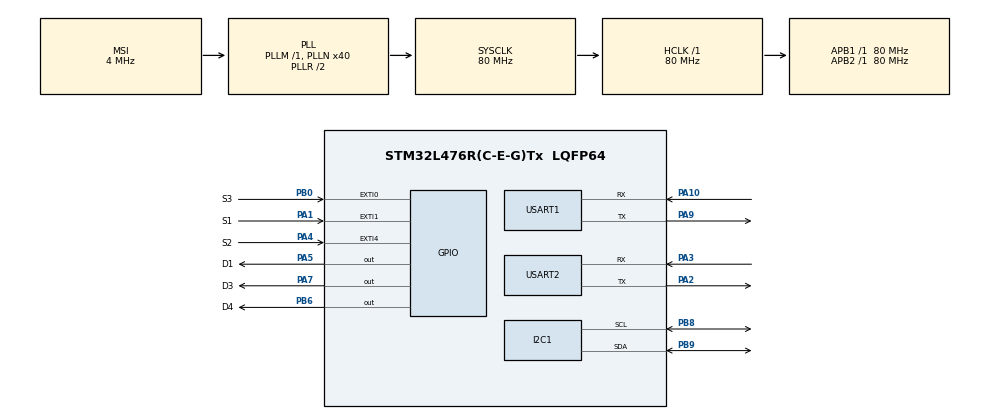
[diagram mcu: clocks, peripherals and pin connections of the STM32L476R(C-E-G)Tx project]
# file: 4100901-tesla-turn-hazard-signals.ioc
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I2C1.Timing=0x10909CEC
Mcu.Family=STM32L4
Mcu.Name=STM32L476R(C-E-G)Tx
Mcu.Package=LQFP64
NVIC.EXTI0_IRQn=true\:0\:0\:false\:false\:true\:true\:true\:true
NVIC.EXTI1_IRQn=true\:0\:0\:false\:false\:true\:true\:true\:true
NVIC.EXTI4_IRQn=true\:0\:0\:false\:false\:true\:true\:true\:true
NVIC.PriorityGroup=NVIC_PRIORITYGROUP_4
NVIC.USART1_IRQn=true\:0\:0\:false\:false\:true\:true\:true\:true
NVIC.USART2_IRQn=true\:0\:0\:false\:false\:true\:true\:true\:true
PA1.GPIO_Label=S1
PA1.GPIO_ModeDefaultEXTI=GPIO_MODE_IT_FALLING
PA1.Signal=GPXTI1
PA10.Mode=Asynchronous
PA10.Signal=USART1_RX
PA2.Mode=Asynchronous
PA2.Signal=USART2_TX
PA3.Mode=Asynchronous
PA3.Signal=USART2_RX
PA4.GPIO_Label=S2
PA4.GPIO_ModeDefaultEXTI=GPIO_MODE_IT_FALLING
PA4.Signal=GPXTI4
PA5.GPIO_Label=D1
PA5.PinState=GPIO_PIN_SET
PA5.Signal=GPIO_Output
PA7.GPIO_Label=D3
PA7.PinState=GPIO_PIN_SET
PA7.Signal=GPIO_Output
PA9.Mode=Asynchronous
PA9.Signal=USART1_TX
PB0.GPIO_Label=S3
PB0.GPIO_ModeDefaultEXTI=GPIO_MODE_IT_FALLING
PB0.Signal=GPXTI0
PB6.GPIO_Label=D4
PB6.PinState=GPIO_PIN_SET
PB6.Signal=GPIO_Output
PB8.Mode=I2C
PB8.Signal=I2C1_SCL
PB9.Mode=I2C
PB9.Signal=I2C1_SDA
ProjectManager.HeapSize=0x200
ProjectManager.StackSize=0x400
ProjectManager.TargetToolchain=STM32CubeIDE
RCC.AHBFreq_Value=80000000
RCC.APB1Freq_Value=80000000
RCC.APB1TimFreq_Value=80000000
RCC.APB2Freq_Value=80000000
RCC.APB2TimFreq_Value=80000000
RCC.CortexFreq_Value=80000000
RCC.HCLKFreq_Value=80000000
RCC.HSE_VALUE=8000000
RCC.HSI_VALUE=16000000
RCC.LSE_VALUE=32768
RCC.MSI_VALUE=4000000
RCC.PLLN=40
RCC.SYSCLKFreq_VALUE=80000000
RCC.SYSCLKSource=RCC_SYSCLKSOURCE_PLLCLK
RCC.VCOOutputFreq_Value=160000000
USART1.VirtualMode-Asynchronous=VM_ASYNC
USART2.VirtualMode-Asynchronous=VM_ASYNC
board=custom

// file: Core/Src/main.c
/* USER CODE BEGIN Header */
/**
  ******************************************************************************
  * @file           : main.c
  * @brief          : Main program body
  ******************************************************************************
  * @attention
  *
  * Copyright (c) 2024 STMicroelectronics.
  * All rights reserved.
  *
  * This software is licensed under terms that can be found in the LICENSE file
  * in the root directory of this software component.
  * If no LICENSE file comes with this software, it is provided AS-IS.
  *
  ******************************************************************************
  */
/* USER CODE END Header */
#include "main.h"

/* USER CODE BEGIN Includes */

#include "ring_buffer.h"

#include"ssd1306.h"
#include"ssd1306_fonts.h"
/* USER CODE END Includes */

I2C_HandleTypeDef hi2c1;

UART_HandleTypeDef huart1;
UART_HandleTypeDef huart2;

/* USER CODE BEGIN PV */
uint32_t left_toggles = 0;
uint32_t right_toggles = 0,hazard_toggles=0;
uint32_t last_debounce_time_left = 0;
uint32_t last_debounce_time_right = 0,last_debounce_time_hazard = 0;
uint32_t counter_right=0, counter_left=0,counter_hazard=0;
uint8_t data;

#define CAPACITY_USART1 10
uint8_t mem_usart1[CAPACITY_USART1];
ring_buffer_t rb_usart1;
#define CAPACITY_USART2 10
uint8_t mem_usart2[CAPACITY_USART2];
ring_buffer_t rb_usart2;

/* USER CODE END PV */

void SystemClock_Config(void);
static void MX_GPIO_Init(void);
static void MX_USART2_UART_Init(void);
static void MX_USART1_UART_Init(void);
static void MX_I2C1_Init(void);
/* USER CODE BEGIN PFP */

void HAL_UART_RxCpltCallback(UART_HandleTypeDef *huart){
	if(huart-> Instance == USART1){

		ring_buffer_write(&rb_usart1,data);
		HAL_UART_Receive_IT(&huart1,&data,1);

	}
	if(huart-> Instance == USART2){
		ring_buffer_write(&rb_usart2,data);
		HAL_UART_Receive_IT(&huart2,&data,1);
	}

}

void HAL_GPIO_EXTI_Callback(uint16_t GPIO_Pin)
{

  }

  /* NOTE: This function should not be modified, when the callback is needed,
           the HAL_GPIO_EXTI_Callback could be implemented in the user file
   */

/* USER CODE END PFP */

/* USER CODE BEGIN 0 */

//Funcionde parpadeo para comprobar el funcionamiento.
void heartbeat (void){

	static uint32_t heartbeat_tick = 0;
	if(heartbeat_tick  < HAL_GetTick() ){
		heartbeat_tick = HAL_GetTick() + 500;
		HAL_GPIO_TogglePin(D1_GPIO_Port, D1_Pin);
	}
}
/* USER CODE END 0 */

int main(void)
{

  /* MCU Configuration--------------------------------------------------------*/

  /* Reset of all peripherals, Initializes the Flash interface and the Systick. */
  HAL_Init();

  /* Configure the system clock */
  SystemClock_Config();

  /* Initialize all configured peripherals */
  MX_GPIO_Init();
  MX_USART2_UART_Init();
  MX_USART1_UART_Init();
  MX_I2C1_Init();
  /* USER CODE BEGIN 2 */
  ssd1306_Init();
    ssd1306_Fill(Black);
    ssd1306_SetCursor(10,20);
    ssd1306_WriteString("holaaa",Font_6x8,White);
    ssd1306_UpdateScreen();
    ring_buffer_init(&rb_usart1, mem_usart1, CAPACITY_USART1);
    ring_buffer_init(&rb_usart2, mem_usart2, CAPACITY_USART2);

  /* USER CODE END 2 */

  /* Infinite loop */
  /* USER CODE BEGIN WHILE */

  HAL_UART_Receive_IT(&huart1,&data, 1);
  HAL_UART_Receive_IT(&huart2, &data, 1);

  while (1)
  {

	  uint8_t byte = 0;

	//  if(ring_buffer_read(&byte)!=0){
	//	  HAL_UART_Transmit(&huart2,&byte,1,10);
	//  }
	  if(ring_buffer_is_full(&rb_usart2)!=0){
		  uint8_t id_incorrect=0;
		  uint8_t my_id[] = "1006554210";
		  for(uint8_t idx=0; idx<sizeof(my_id);idx++){
			  if(ring_buffer_read(&rb_usart2,&byte)!=0){
				  if(byte != my_id[idx]){
					  id_incorrect = 1;

				  }
			  }
		  }
		  if(id_incorrect==0){
			  HAL_UART_Transmit(&huart2,(uint8_t *)"Oscar\n\r",7,10);
			  // Mostrar "Cristian" en la pantalla SSD1306
			  ssd1306_Fill(Black);  // Limpiar la pantalla
			  ssd1306_SetCursor(10, 20);
			  ssd1306_WriteString("Oscar", Font_6x8, White);
			  ssd1306_UpdateScreen();

		  }else{
			  HAL_UART_Transmit(&huart2,(uint8_t *)"Error\n\r",7,10);

			  // Mostrar "Error" en la pantalla SSD1306
			  ssd1306_Fill(Black);  // Limpiar la pantalla
			  ssd1306_SetCursor(10, 20);
			  ssd1306_WriteString("Error", Font_6x8, White);
			  ssd1306_UpdateScreen();

		  }
		  ring_buffer_reset(&rb_usart2);

	  }

    /*  if (ring_buffer_read(&byte) != 0) {
          // Shift the buffer to the left and add the new byte at the end
          memmove(buffer, buffer + 1, DOC_LENGTH - 1);
          buffer[DOC_LENGTH - 1] = byte;

          // Check if the received sequence matches the document number
          if (memcmp(buffer, DOC_NUMBER, DOC_LENGTH) == 0) {
              HAL_UART_Transmit(&huart2, (uint8_t*)NAME, strlen(NAME), HAL_MAX_DELAY);
          }
      }*/

	  }
    /* USER CODE END WHILE */

  }

void SystemClock_Config(void)
{
  RCC_OscInitTypeDef RCC_OscInitStruct = {0};
  RCC_ClkInitTypeDef RCC_ClkInitStruct = {0};

  /** Configure the main internal regulator output voltage
  */
  if (HAL_PWREx_ControlVoltageScaling(PWR_REGULATOR_VOLTAGE_SCALE1) != HAL_OK)
  {
    Error_Handler();
  }

  /** Initializes the RCC Oscillators according to the specified parameters
  * in the RCC_OscInitTypeDef structure.
  */
  RCC_OscInitStruct.OscillatorType = RCC_OSCILLATORTYPE_MSI;
  RCC_OscInitStruct.MSIState = RCC_MSI_ON;
  RCC_OscInitStruct.MSICalibrationValue = 0;
  RCC_OscInitStruct.MSIClockRange = RCC_MSIRANGE_6;
  RCC_OscInitStruct.PLL.PLLState = RCC_PLL_ON;
  RCC_OscInitStruct.PLL.PLLSource = RCC_PLLSOURCE_MSI;
  RCC_OscInitStruct.PLL.PLLM = 1;
  RCC_OscInitStruct.PLL.PLLN = 40;
  RCC_OscInitStruct.PLL.PLLP = RCC_PLLP_DIV7;
  RCC_OscInitStruct.PLL.PLLQ = RCC_PLLQ_DIV2;
  RCC_OscInitStruct.PLL.PLLR = RCC_PLLR_DIV2;
  if (HAL_RCC_OscConfig(&RCC_OscInitStruct) != HAL_OK)
  {
    Error_Handler();
  }

  /** Initializes the CPU, AHB and APB buses clocks
  */
  RCC_ClkInitStruct.ClockType = RCC_CLOCKTYPE_HCLK|RCC_CLOCKTYPE_SYSCLK
                              |RCC_CLOCKTYPE_PCLK1|RCC_CLOCKTYPE_PCLK2;
  RCC_ClkInitStruct.SYSCLKSource = RCC_SYSCLKSOURCE_PLLCLK;
  RCC_ClkInitStruct.AHBCLKDivider = RCC_SYSCLK_DIV1;
  RCC_ClkInitStruct.APB1CLKDivider = RCC_HCLK_DIV1;
  RCC_ClkInitStruct.APB2CLKDivider = RCC_HCLK_DIV1;

  if (HAL_RCC_ClockConfig(&RCC_ClkInitStruct, FLASH_LATENCY_4) != HAL_OK)
  {
    Error_Handler();
  }
}

static void MX_I2C1_Init(void)
{

  hi2c1.Instance = I2C1;
  hi2c1.Init.Timing = 0x10909CEC;
  hi2c1.Init.OwnAddress1 = 0;
  hi2c1.Init.AddressingMode = I2C_ADDRESSINGMODE_7BIT;
  hi2c1.Init.DualAddressMode = I2C_DUALADDRESS_DISABLE;
  hi2c1.Init.OwnAddress2 = 0;
  hi2c1.Init.OwnAddress2Masks = I2C_OA2_NOMASK;
  hi2c1.Init.GeneralCallMode = I2C_GENERALCALL_DISABLE;
  hi2c1.Init.NoStretchMode = I2C_NOSTRETCH_DISABLE;
  if (HAL_I2C_Init(&hi2c1) != HAL_OK)
  {
    Error_Handler();
  }

  /** Configure Analogue filter
  */
  if (HAL_I2CEx_ConfigAnalogFilter(&hi2c1, I2C_ANALOGFILTER_ENABLE) != HAL_OK)
  {
    Error_Handler();
  }

  /** Configure Digital filter
  */
  if (HAL_I2CEx_ConfigDigitalFilter(&hi2c1, 0) != HAL_OK)
  {
    Error_Handler();
  }

}

static void MX_USART1_UART_Init(void)
{

  huart1.Instance = USART1;
  huart1.Init.BaudRate = 115200;
  huart1.Init.WordLength = UART_WORDLENGTH_8B;
  huart1.Init.StopBits = UART_STOPBITS_1;
  huart1.Init.Parity = UART_PARITY_NONE;
  huart1.Init.Mode = UART_MODE_TX_RX;
  huart1.Init.HwFlowCtl = UART_HWCONTROL_NONE;
  huart1.Init.OverSampling = UART_OVERSAMPLING_16;
  huart1.Init.OneBitSampling = UART_ONE_BIT_SAMPLE_DISABLE;
  huart1.AdvancedInit.AdvFeatureInit = UART_ADVFEATURE_NO_INIT;
  if (HAL_UART_Init(&huart1) != HAL_OK)
  {
    Error_Handler();
  }

}

static void MX_USART2_UART_Init(void)
{

  huart2.Instance = USART2;
  huart2.Init.BaudRate = 115200;
  huart2.Init.WordLength = UART_WORDLENGTH_8B;
  huart2.Init.StopBits = UART_STOPBITS_1;
  huart2.Init.Parity = UART_PARITY_NONE;
  huart2.Init.Mode = UART_MODE_TX_RX;
  huart2.Init.HwFlowCtl = UART_HWCONTROL_NONE;
  huart2.Init.OverSampling = UART_OVERSAMPLING_16;
  huart2.Init.OneBitSampling = UART_ONE_BIT_SAMPLE_DISABLE;
  huart2.AdvancedInit.AdvFeatureInit = UART_ADVFEATURE_NO_INIT;
  if (HAL_UART_Init(&huart2) != HAL_OK)
  {
    Error_Handler();
  }

}

static void MX_GPIO_Init(void)
{
  GPIO_InitTypeDef GPIO_InitStruct = {0};

  /* GPIO Ports Clock Enable */
  __HAL_RCC_GPIOA_CLK_ENABLE();
  __HAL_RCC_GPIOB_CLK_ENABLE();

  /*Configure GPIO pin Output Level */
  HAL_GPIO_WritePin(D1_GPIO_Port, D1_Pin, GPIO_PIN_SET);

  /*Configure GPIO pin Output Level */
  HAL_GPIO_WritePin(D3_GPIO_Port, D3_Pin, GPIO_PIN_RESET);

  /*Configure GPIO pins : S1_Pin S2_Pin */
  GPIO_InitStruct.Pin = S1_Pin|S2_Pin;
  GPIO_InitStruct.Mode = GPIO_MODE_IT_RISING;
  GPIO_InitStruct.Pull = GPIO_NOPULL;
  HAL_GPIO_Init(GPIOA, &GPIO_InitStruct);

  /*Configure GPIO pins : D1_Pin D3_Pin */
  GPIO_InitStruct.Pin = D1_Pin|D3_Pin;
  GPIO_InitStruct.Mode = GPIO_MODE_OUTPUT_PP;
  GPIO_InitStruct.Pull = GPIO_NOPULL;
  GPIO_InitStruct.Speed = GPIO_SPEED_FREQ_LOW;
  HAL_GPIO_Init(GPIOA, &GPIO_InitStruct);

  /*Configure GPIO pin : S3_Pin */
  GPIO_InitStruct.Pin = S3_Pin;
  GPIO_InitStruct.Mode = GPIO_MODE_IT_RISING;
  GPIO_InitStruct.Pull = GPIO_NOPULL;
  HAL_GPIO_Init(S3_GPIO_Port, &GPIO_InitStruct);

  /* EXTI interrupt init*/
  HAL_NVIC_SetPriority(EXTI1_IRQn, 0, 0);
  HAL_NVIC_EnableIRQ(EXTI1_IRQn);

  HAL_NVIC_SetPriority(EXTI4_IRQn, 0, 0);
  HAL_NVIC_EnableIRQ(EXTI4_IRQn);

}

void Error_Handler(void)
{
  __disable_irq();
  while (1)
  {
  }
}
